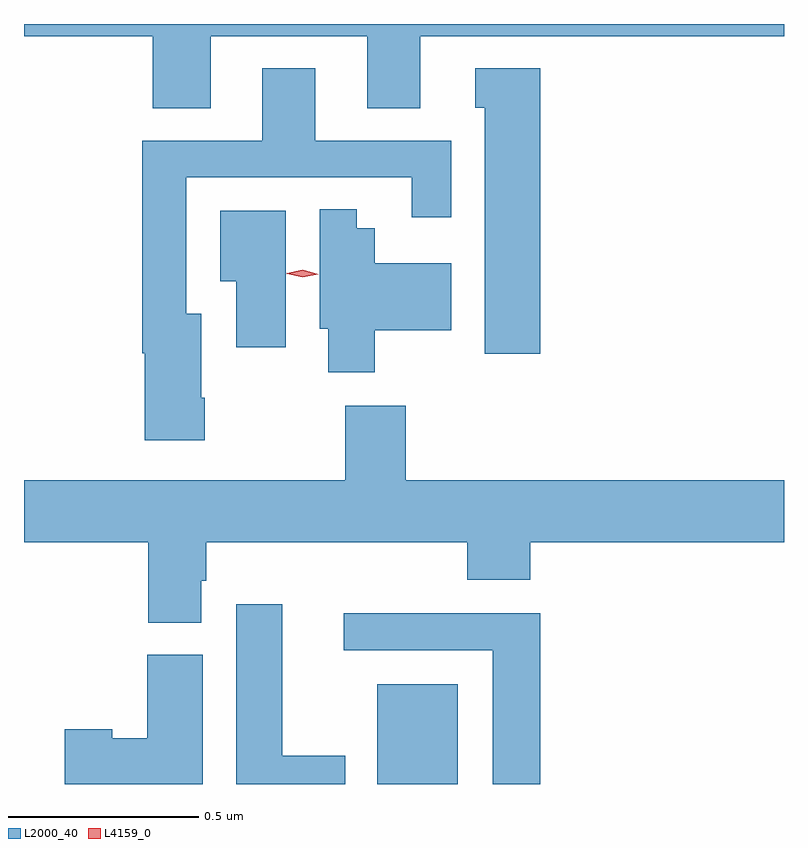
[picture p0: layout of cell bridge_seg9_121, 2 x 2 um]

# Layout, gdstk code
import gdstk
lib = gdstk.Library(unit=1e-6, precision=1e-09)
def R(c, l, rs):  # rectangles x0, y0, x1, y1
    for r in rs: c.add(gdstk.rectangle(r[:2], r[2:], *l))
def P(c, l, *ps):  # polygons
    for p in ps: c.add(gdstk.Polygon(p, *l))
L2000_40 = (2000, 40)
L4159_0 = (4159, 0)

bridge_seg9_121 = lib.new_cell('bridge_seg9_121')
R(bridge_seg9_121, L2000_40, [(540.47,1227.752,540.682,1228.015)])
P(bridge_seg9_121, L2000_40, [(540.031,1229.72),(540.443,1229.72),(540.443,1229.53),(540.583,1229.53),(540.583,1229.72),(541.54,1229.72),(541.54,1229.752),(539.54,1229.752),(539.54,1229.72),(539.879,1229.72),(539.879,1229.53),(540.031,1229.53)],
  [(540.015,1228.768),(540.007,1228.768),(540.007,1228.99),(539.967,1228.99),(539.967,1229.349),(540.56,1229.349),(540.56,1229.244),(540.664,1229.244),(540.664,1229.445),(540.307,1229.445),(540.307,1229.635),(540.167,1229.635),(540.167,1229.445),(539.851,1229.445),(539.851,1228.886),(539.858,1228.886),(539.858,1228.656),(540.015,1228.656)],
  [(540.899,1229.635),(540.728,1229.635),(540.728,1229.532),(540.752,1229.532),(540.752,1228.884),(540.899,1228.884)],
  [(540.463,1228.946),(540.664,1228.946),(540.664,1229.122),(540.463,1229.122),(540.463,1229.215),(540.415,1229.215),(540.415,1229.264),(540.318,1229.264),(540.318,1228.95),(540.341,1228.95),(540.341,1228.835),(540.463,1228.835)],
  [(540.229,1229.26),(540.056,1229.26),(540.056,1229.075),(540.098,1229.075),(540.098,1228.902),(540.229,1228.902)],
  [(540.007,1228.287),(540.02,1228.287),(540.02,1228.388),(540.707,1228.388),(540.707,1228.289),(540.872,1228.289),(540.872,1228.388),(541.54,1228.388),(541.54,1228.552),(540.545,1228.552),(540.545,1228.747),(540.385,1228.747),(540.385,1228.552),(539.54,1228.552),(539.54,1228.388),(539.867,1228.388),(539.867,1228.177),(540.007,1228.177)],
  [(540.385,1227.826),(540.22,1227.826),(540.22,1228.225),(540.098,1228.225),(540.098,1227.752),(540.385,1227.752)],
  [(540.899,1228.202),(540.381,1228.202),(540.381,1228.104),(540.773,1228.104),(540.773,1227.752),(540.899,1227.752)],
  [(540.01,1228.092),(539.864,1228.092),(539.864,1227.873),(539.772,1227.873),(539.772,1227.896),(539.647,1227.896),(539.647,1227.752),(540.01,1227.752)])
P(bridge_seg9_121, L4159_0, [(540.273,1229.085),(540.232,1229.095),(540.232,1229.095),(540.232,1229.096),(540.273,1229.105),(540.314,1229.094),(540.314,1229.094),(540.314,1229.094)])

lib.write_gds('bridge_seg9_121.gds')
